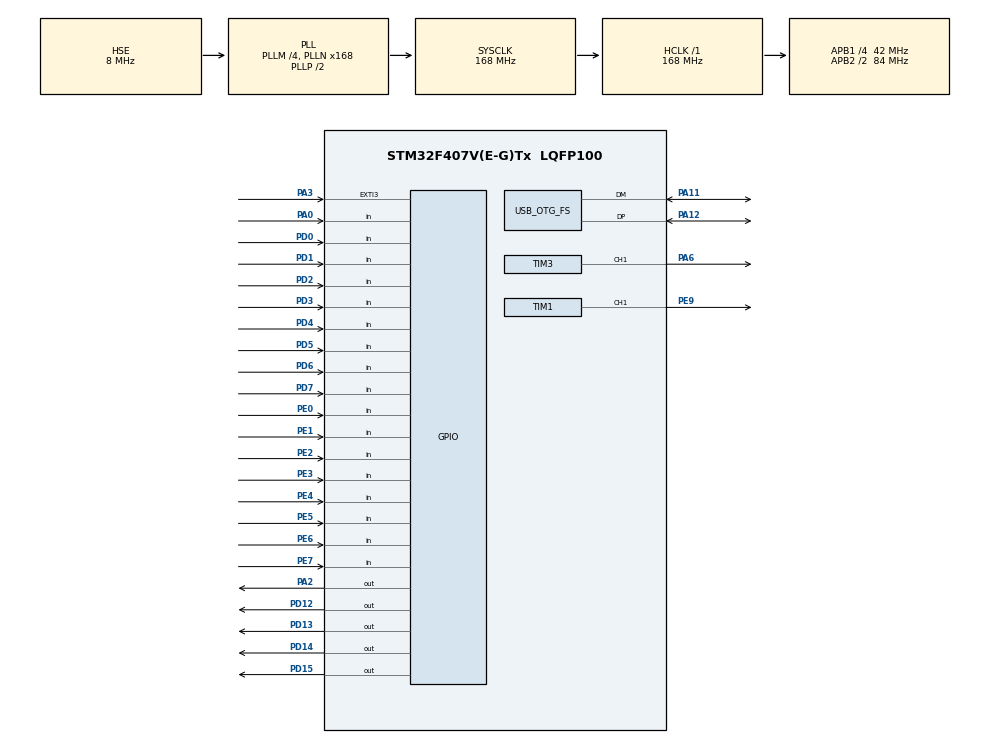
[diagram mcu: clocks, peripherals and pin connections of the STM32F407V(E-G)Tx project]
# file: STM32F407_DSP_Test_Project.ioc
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Mcu.Family=STM32F4
Mcu.Name=STM32F407V(E-G)Tx
Mcu.Package=LQFP100
NVIC.EXTI3_IRQn=true\:0\:0\:false\:false\:true\:true\:true
NVIC.OTG_FS_IRQn=true\:0\:0\:false\:false\:true\:false\:true
NVIC.PriorityGroup=NVIC_PRIORITYGROUP_4
NVIC.TIM6_DAC_IRQn=true\:0\:0\:true\:false\:true\:true\:true
PA0-WKUP.Signal=GPIO_Input
PA11.Mode=Device_Only
PA11.Signal=USB_OTG_FS_DM
PA12.Mode=Device_Only
PA12.Signal=USB_OTG_FS_DP
PA2.GPIO_PuPd=GPIO_PULLDOWN
PA2.GPIO_Speed=GPIO_SPEED_FREQ_HIGH
PA2.Signal=GPIO_Output
PA3.GPIO_PuPd=GPIO_PULLDOWN
PA3.Signal=GPXTI3
PA6.GPIO_Speed=GPIO_SPEED_FREQ_HIGH
PA6.Signal=S_TIM3_CH1
PD0.GPIO_PuPd=GPIO_PULLDOWN
PD0.Signal=GPIO_Input
PD1.GPIO_PuPd=GPIO_PULLDOWN
PD1.Signal=GPIO_Input
PD12.GPIO_PuPd=GPIO_PULLDOWN
PD12.Signal=GPIO_Output
PD13.Signal=GPIO_Output
PD14.Signal=GPIO_Output
PD15.Signal=GPIO_Output
PD2.GPIO_PuPd=GPIO_PULLDOWN
PD2.Signal=GPIO_Input
PD3.GPIO_PuPd=GPIO_PULLDOWN
PD3.Signal=GPIO_Input
PD4.GPIO_PuPd=GPIO_PULLDOWN
PD4.Signal=GPIO_Input
PD5.GPIO_PuPd=GPIO_PULLDOWN
PD5.Signal=GPIO_Input
PD6.GPIO_PuPd=GPIO_PULLDOWN
PD6.Signal=GPIO_Input
PD7.GPIO_PuPd=GPIO_PULLDOWN
PD7.Signal=GPIO_Input
PE0.GPIO_PuPd=GPIO_NOPULL
PE0.Signal=GPIO_Input
PE1.GPIO_PuPd=GPIO_NOPULL
PE1.Signal=GPIO_Input
PE2.GPIO_PuPd=GPIO_NOPULL
PE2.Signal=GPIO_Input
PE3.GPIO_PuPd=GPIO_NOPULL
PE3.Signal=GPIO_Input
PE4.GPIO_PuPd=GPIO_NOPULL
PE4.Signal=GPIO_Input
PE5.GPIO_PuPd=GPIO_NOPULL
PE5.Signal=GPIO_Input
PE6.GPIO_PuPd=GPIO_NOPULL
PE6.Signal=GPIO_Input
PE7.GPIO_PuPd=GPIO_NOPULL
PE7.Signal=GPIO_Input
PE9.GPIO_ModeDefaultPP=GPIO_MODE_AF_PP
PE9.GPIO_PuPd=GPIO_NOPULL
PE9.GPIO_Speed=GPIO_SPEED_FREQ_HIGH
PE9.Signal=S_TIM1_CH1
PH0-OSC_IN.Mode=HSE-External-Oscillator
PH0-OSC_IN.Signal=RCC_OSC_IN
PH1-OSC_OUT.Mode=HSE-External-Oscillator
PH1-OSC_OUT.Signal=RCC_OSC_OUT
ProjectManager.HeapSize=0x200
ProjectManager.StackSize=0x200
ProjectManager.TargetToolchain=STM32CubeIDE
RCC.48MHZClocksFreq_Value=48000000
RCC.AHBFreq_Value=168000000
RCC.APB1CLKDivider=RCC_HCLK_DIV4
RCC.APB1Freq_Value=42000000
RCC.APB1TimFreq_Value=84000000
RCC.APB2CLKDivider=RCC_HCLK_DIV2
RCC.APB2Freq_Value=84000000
RCC.APB2TimFreq_Value=168000000
RCC.CortexFreq_Value=168000000
RCC.HCLKFreq_Value=168000000
RCC.HSE_VALUE=8000000
RCC.HSI_VALUE=16000000
RCC.LSE_VALUE=32768
RCC.PLLM=4
RCC.PLLN=168
RCC.PLLQ=7
RCC.SYSCLKFreq_VALUE=168000000
RCC.SYSCLKSource=RCC_SYSCLKSOURCE_PLLCLK
RCC.VCOOutputFreq_Value=336000000
SH.S_TIM1_CH1.0=TIM1_CH1,PWM Generation1 CH1
SH.S_TIM3_CH1.0=TIM3_CH1,PWM Generation1 CH1
TIM1.Channel-PWM\ Generation1\ CH1=TIM_CHANNEL_1
TIM1.ClockDivision=TIM_CLOCKDIVISION_DIV4
TIM1.Period=1
TIM2.Period=1
TIM2.TIM_MasterOutputTrigger=TIM_TRGO_UPDATE
TIM3.Channel-PWM\ Generation1\ CH1=TIM_CHANNEL_1
TIM3.Period=10
TIM6.Period=10000
TIM6.Prescaler=8399
TIM6.TIM_MasterOutputTrigger=TIM_TRGO_UPDATE
USB_DEVICE.APP_RX_DATA_SIZE-CDC_FS=64
USB_DEVICE.APP_TX_DATA_SIZE-CDC_FS=64
USB_DEVICE.CLASS_NAME_FS=CDC
USB_DEVICE.USBD_MAX_STR_DESC_SIZ-CDC_FS=2048
USB_DEVICE.VirtualMode-CDC_FS=Cdc
USB_DEVICE.VirtualModeFS=Cdc_FS
USB_OTG_FS.VirtualMode=Device_Only
VP_TIM1_VS_ClockSourceINT.Mode=Internal
VP_TIM2_VS_ClockSourceINT.Mode=Internal
VP_TIM3_VS_ClockSourceINT.Mode=Internal
VP_TIM6_VS_ClockSourceINT.Mode=Enable_Timer
VP_USB_DEVICE_VS_USB_DEVICE_CDC_FS.Mode=CDC_FS
board=custom

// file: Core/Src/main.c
/* USER CODE BEGIN Header */
/**
  ******************************************************************************
  * @file           : main.c
  * @brief          : Main program body
  ******************************************************************************
  * @attention
  *
  * <h2><center>&copy; Copyright (c) 2021 STMicroelectronics.
  * All rights reserved.</center></h2>
  *
  * This software component is licensed by ST under BSD 3-Clause license,
  * the "License"; You may not use this file except in compliance with the
  * License. You may obtain a copy of the License at:
  *                        opensource.org/licenses/BSD-3-Clause
  *
  ******************************************************************************
  */
/* USER CODE END Header */
#include "main.h"
#include "usb_device.h"

/* USER CODE BEGIN Includes */
#include "usbd_cdc_if.h"
#include "math.h"
//#include <stdbool.h>
/* USER CODE END Includes */

/* USER CODE BEGIN PTD */
//#define iteration_num 200
//#define spectre_start 100000
//#define spectre_finish 200000
//#define step 10000
/* USER CODE END PTD */

TIM_HandleTypeDef htim1;
TIM_HandleTypeDef htim2;
TIM_HandleTypeDef htim3;
TIM_HandleTypeDef htim6;

void SystemClock_Config(void);
static void MX_GPIO_Init(void);
static void MX_TIM1_Init(void);
static void MX_TIM2_Init(void);
static void MX_TIM3_Init(void);
static void MX_TIM6_Init(void);

/* USER CODE BEGIN 0 */
int counter_period = 0;
volatile int current_input_val = 0;
volatile char str_tx[30];
float led_val_thresh = 256 / 5;

/* USER CODE END 0 */

int main(void)
{

  /* MCU Configuration--------------------------------------------------------*/

  /* Reset of all peripherals, Initializes the Flash interface and the Systick. */
  HAL_Init();

  /* Configure the system clock */
  SystemClock_Config();

  /* Initialize all configured peripherals */
  MX_GPIO_Init();
  MX_USB_DEVICE_Init();
  MX_TIM1_Init();
  MX_TIM2_Init();
  MX_TIM3_Init();
  MX_TIM6_Init();
  /* USER CODE BEGIN 2 */
//int counter_active = 16;
//int counter_passive = 16;
//int counter_pwm = 0;

//  HAL_TIM_Base_MspInit(&htim2);
//  HAL_TIM_Base_Start(&htim2);
  //HAL_TIM_Base_Start(&htim2); // запуск таймера
//  HAL_TIM_PWM_PulseFinishedCallback(&htim2);
//  HAL_TIM_PWM_Start_IT(&htim2, TIM_CHANNEL_1);

//  HAL_TIM_Base_MspInit(&htim1);
//  HAL_TIM_Base_Start_IT(&htim1);
//  HAL_TIM_Base_Start(&htim1);
//  HAL_TIM_PWM_Start(&htim1, TIM_CHANNEL_1);

//  HAL_TIM_Base_Start(&htim6);
  HAL_TIM_Base_Start_IT(&htim6);

//  HAL_GPIO_WritePin(GPIOD, GPIO_PIN_12, GPIO_PIN_RESET);
//  char str_tx[10];
//  sprintf(str_tx,"USB Transmit\r\n");

//void usDelay(uint16_t useconds)
//{
//  __HAL_TIM_SET_COUNTER(&htim2, 0);
//  while(__HAL_TIM_GET_COUNTER(&htim2) < useconds);
//}
//  TIM2->CCR1=1;
//  TIM1->CCR1=1;
  /* USER CODE END 2 */

  /* Infinite loop */
  /* USER CODE BEGIN WHILE */
  while (1)
  {
//      CDC_Transmit_FS((unsigned char*)str_tx, strlen(str_tx));
//      HAL_Delay(500);
//	  if (HAL_GPIO_ReadPin(GPIOA, GPIO_PIN_3) == GPIO_PIN_SET ) {
//		  counter_period +=1;
//	  }
//	  if (counter_period >= 4) {
//		  HAL_GPIO_WritePin(GPIOE, GPIO_PIN_0, HAL_GPIO_ReadPin(GPIOD, GPIO_PIN_0));
//		  counter_period = 0;
//	  }
//	  HAL_GPIO_WritePin(GPIOE, GPIO_PIN_0, GPIO_PIN_RESET);
//	  usDelay(1.9);
//	  HAL_GPIO_WritePin(GPIOE, GPIO_PIN_0, GPIO_PIN_SET);
//	  usDelay(1.9);
    /* USER CODE END WHILE */

  }
}

void SystemClock_Config(void)
{
  RCC_OscInitTypeDef RCC_OscInitStruct = {0};
  RCC_ClkInitTypeDef RCC_ClkInitStruct = {0};

  /** Configure the main internal regulator output voltage
  */
  __HAL_RCC_PWR_CLK_ENABLE();
  __HAL_PWR_VOLTAGESCALING_CONFIG(PWR_REGULATOR_VOLTAGE_SCALE1);
  /** Initializes the RCC Oscillators according to the specified parameters
  * in the RCC_OscInitTypeDef structure.
  */
  RCC_OscInitStruct.OscillatorType = RCC_OSCILLATORTYPE_HSE;
  RCC_OscInitStruct.HSEState = RCC_HSE_ON;
  RCC_OscInitStruct.PLL.PLLState = RCC_PLL_ON;
  RCC_OscInitStruct.PLL.PLLSource = RCC_PLLSOURCE_HSE;
  RCC_OscInitStruct.PLL.PLLM = 4;
  RCC_OscInitStruct.PLL.PLLN = 168;
  RCC_OscInitStruct.PLL.PLLP = RCC_PLLP_DIV2;
  RCC_OscInitStruct.PLL.PLLQ = 7;
  if (HAL_RCC_OscConfig(&RCC_OscInitStruct) != HAL_OK)
  {
    Error_Handler();
  }
  /** Initializes the CPU, AHB and APB buses clocks
  */
  RCC_ClkInitStruct.ClockType = RCC_CLOCKTYPE_HCLK|RCC_CLOCKTYPE_SYSCLK
                              |RCC_CLOCKTYPE_PCLK1|RCC_CLOCKTYPE_PCLK2;
  RCC_ClkInitStruct.SYSCLKSource = RCC_SYSCLKSOURCE_PLLCLK;
  RCC_ClkInitStruct.AHBCLKDivider = RCC_SYSCLK_DIV1;
  RCC_ClkInitStruct.APB1CLKDivider = RCC_HCLK_DIV4;
  RCC_ClkInitStruct.APB2CLKDivider = RCC_HCLK_DIV2;

  if (HAL_RCC_ClockConfig(&RCC_ClkInitStruct, FLASH_LATENCY_5) != HAL_OK)
  {
    Error_Handler();
  }
}

static void MX_TIM1_Init(void)
{

  TIM_ClockConfigTypeDef sClockSourceConfig = {0};
  TIM_MasterConfigTypeDef sMasterConfig = {0};
  TIM_OC_InitTypeDef sConfigOC = {0};
  TIM_BreakDeadTimeConfigTypeDef sBreakDeadTimeConfig = {0};

  htim1.Instance = TIM1;
  htim1.Init.Prescaler = 0;
  htim1.Init.CounterMode = TIM_COUNTERMODE_UP;
  htim1.Init.Period = 1;
  htim1.Init.ClockDivision = TIM_CLOCKDIVISION_DIV4;
  htim1.Init.RepetitionCounter = 0;
  htim1.Init.AutoReloadPreload = TIM_AUTORELOAD_PRELOAD_DISABLE;
  if (HAL_TIM_Base_Init(&htim1) != HAL_OK)
  {
    Error_Handler();
  }
  sClockSourceConfig.ClockSource = TIM_CLOCKSOURCE_INTERNAL;
  if (HAL_TIM_ConfigClockSource(&htim1, &sClockSourceConfig) != HAL_OK)
  {
    Error_Handler();
  }
  if (HAL_TIM_PWM_Init(&htim1) != HAL_OK)
  {
    Error_Handler();
  }
  sMasterConfig.MasterOutputTrigger = TIM_TRGO_RESET;
  sMasterConfig.MasterSlaveMode = TIM_MASTERSLAVEMODE_DISABLE;
  if (HAL_TIMEx_MasterConfigSynchronization(&htim1, &sMasterConfig) != HAL_OK)
  {
    Error_Handler();
  }
  sConfigOC.OCMode = TIM_OCMODE_PWM1;
  sConfigOC.Pulse = 0;
  sConfigOC.OCPolarity = TIM_OCPOLARITY_HIGH;
  sConfigOC.OCNPolarity = TIM_OCNPOLARITY_HIGH;
  sConfigOC.OCFastMode = TIM_OCFAST_DISABLE;
  sConfigOC.OCIdleState = TIM_OCIDLESTATE_RESET;
  sConfigOC.OCNIdleState = TIM_OCNIDLESTATE_RESET;
  if (HAL_TIM_PWM_ConfigChannel(&htim1, &sConfigOC, TIM_CHANNEL_1) != HAL_OK)
  {
    Error_Handler();
  }
  sBreakDeadTimeConfig.OffStateRunMode = TIM_OSSR_DISABLE;
  sBreakDeadTimeConfig.OffStateIDLEMode = TIM_OSSI_DISABLE;
  sBreakDeadTimeConfig.LockLevel = TIM_LOCKLEVEL_OFF;
  sBreakDeadTimeConfig.DeadTime = 0;
  sBreakDeadTimeConfig.BreakState = TIM_BREAK_DISABLE;
  sBreakDeadTimeConfig.BreakPolarity = TIM_BREAKPOLARITY_HIGH;
  sBreakDeadTimeConfig.AutomaticOutput = TIM_AUTOMATICOUTPUT_DISABLE;
  if (HAL_TIMEx_ConfigBreakDeadTime(&htim1, &sBreakDeadTimeConfig) != HAL_OK)
  {
    Error_Handler();
  }
  HAL_TIM_MspPostInit(&htim1);

}

static void MX_TIM2_Init(void)
{

  TIM_ClockConfigTypeDef sClockSourceConfig = {0};
  TIM_MasterConfigTypeDef sMasterConfig = {0};

  htim2.Instance = TIM2;
  htim2.Init.Prescaler = 0;
  htim2.Init.CounterMode = TIM_COUNTERMODE_UP;
  htim2.Init.Period = 1;
  htim2.Init.ClockDivision = TIM_CLOCKDIVISION_DIV1;
  htim2.Init.AutoReloadPreload = TIM_AUTORELOAD_PRELOAD_DISABLE;
  if (HAL_TIM_Base_Init(&htim2) != HAL_OK)
  {
    Error_Handler();
  }
  sClockSourceConfig.ClockSource = TIM_CLOCKSOURCE_INTERNAL;
  if (HAL_TIM_ConfigClockSource(&htim2, &sClockSourceConfig) != HAL_OK)
  {
    Error_Handler();
  }
  sMasterConfig.MasterOutputTrigger = TIM_TRGO_UPDATE;
  sMasterConfig.MasterSlaveMode = TIM_MASTERSLAVEMODE_DISABLE;
  if (HAL_TIMEx_MasterConfigSynchronization(&htim2, &sMasterConfig) != HAL_OK)
  {
    Error_Handler();
  }

}

static void MX_TIM3_Init(void)
{

  TIM_ClockConfigTypeDef sClockSourceConfig = {0};
  TIM_MasterConfigTypeDef sMasterConfig = {0};
  TIM_OC_InitTypeDef sConfigOC = {0};

  htim3.Instance = TIM3;
  htim3.Init.Prescaler = 0;
  htim3.Init.CounterMode = TIM_COUNTERMODE_UP;
  htim3.Init.Period = 10;
  htim3.Init.ClockDivision = TIM_CLOCKDIVISION_DIV1;
  htim3.Init.AutoReloadPreload = TIM_AUTORELOAD_PRELOAD_DISABLE;
  if (HAL_TIM_Base_Init(&htim3) != HAL_OK)
  {
    Error_Handler();
  }
  sClockSourceConfig.ClockSource = TIM_CLOCKSOURCE_INTERNAL;
  if (HAL_TIM_ConfigClockSource(&htim3, &sClockSourceConfig) != HAL_OK)
  {
    Error_Handler();
  }
  if (HAL_TIM_PWM_Init(&htim3) != HAL_OK)
  {
    Error_Handler();
  }
  sMasterConfig.MasterOutputTrigger = TIM_TRGO_RESET;
  sMasterConfig.MasterSlaveMode = TIM_MASTERSLAVEMODE_DISABLE;
  if (HAL_TIMEx_MasterConfigSynchronization(&htim3, &sMasterConfig) != HAL_OK)
  {
    Error_Handler();
  }
  sConfigOC.OCMode = TIM_OCMODE_PWM1;
  sConfigOC.Pulse = 0;
  sConfigOC.OCPolarity = TIM_OCPOLARITY_HIGH;
  sConfigOC.OCFastMode = TIM_OCFAST_DISABLE;
  if (HAL_TIM_PWM_ConfigChannel(&htim3, &sConfigOC, TIM_CHANNEL_1) != HAL_OK)
  {
    Error_Handler();
  }
  HAL_TIM_MspPostInit(&htim3);

}

static void MX_TIM6_Init(void)
{

  TIM_MasterConfigTypeDef sMasterConfig = {0};

  htim6.Instance = TIM6;
  htim6.Init.Prescaler = 8399;
  htim6.Init.CounterMode = TIM_COUNTERMODE_UP;
  htim6.Init.Period = 10000;
  htim6.Init.AutoReloadPreload = TIM_AUTORELOAD_PRELOAD_DISABLE;
  if (HAL_TIM_Base_Init(&htim6) != HAL_OK)
  {
    Error_Handler();
  }
  sMasterConfig.MasterOutputTrigger = TIM_TRGO_UPDATE;
  sMasterConfig.MasterSlaveMode = TIM_MASTERSLAVEMODE_DISABLE;
  if (HAL_TIMEx_MasterConfigSynchronization(&htim6, &sMasterConfig) != HAL_OK)
  {
    Error_Handler();
  }

}

static void MX_GPIO_Init(void)
{
  GPIO_InitTypeDef GPIO_InitStruct = {0};

  /* GPIO Ports Clock Enable */
  __HAL_RCC_GPIOE_CLK_ENABLE();
  __HAL_RCC_GPIOH_CLK_ENABLE();
  __HAL_RCC_GPIOA_CLK_ENABLE();
  __HAL_RCC_GPIOD_CLK_ENABLE();

  /*Configure GPIO pin Output Level */
  HAL_GPIO_WritePin(GPIOA, GPIO_PIN_2, GPIO_PIN_RESET);

  /*Configure GPIO pin Output Level */
  HAL_GPIO_WritePin(GPIOD, GPIO_PIN_12|GPIO_PIN_13|GPIO_PIN_14|GPIO_PIN_15, GPIO_PIN_RESET);

  /*Configure GPIO pins : PE2 PE3 PE4 PE5
                           PE6 PE7 PE0 PE1 */
  GPIO_InitStruct.Pin = GPIO_PIN_2|GPIO_PIN_3|GPIO_PIN_4|GPIO_PIN_5
                          |GPIO_PIN_6|GPIO_PIN_7|GPIO_PIN_0|GPIO_PIN_1;
  GPIO_InitStruct.Mode = GPIO_MODE_INPUT;
  GPIO_InitStruct.Pull = GPIO_NOPULL;
  HAL_GPIO_Init(GPIOE, &GPIO_InitStruct);

  /*Configure GPIO pin : PA0 */
  GPIO_InitStruct.Pin = GPIO_PIN_0;
  GPIO_InitStruct.Mode = GPIO_MODE_INPUT;
  GPIO_InitStruct.Pull = GPIO_NOPULL;
  HAL_GPIO_Init(GPIOA, &GPIO_InitStruct);

  /*Configure GPIO pin : PA2 */
  GPIO_InitStruct.Pin = GPIO_PIN_2;
  GPIO_InitStruct.Mode = GPIO_MODE_OUTPUT_PP;
  GPIO_InitStruct.Pull = GPIO_PULLDOWN;
  GPIO_InitStruct.Speed = GPIO_SPEED_FREQ_HIGH;
  HAL_GPIO_Init(GPIOA, &GPIO_InitStruct);

  /*Configure GPIO pin : PA3 */
  GPIO_InitStruct.Pin = GPIO_PIN_3;
  GPIO_InitStruct.Mode = GPIO_MODE_IT_RISING;
  GPIO_InitStruct.Pull = GPIO_PULLDOWN;
  HAL_GPIO_Init(GPIOA, &GPIO_InitStruct);

  /*Configure GPIO pin : PD12 */
  GPIO_InitStruct.Pin = GPIO_PIN_12;
  GPIO_InitStruct.Mode = GPIO_MODE_OUTPUT_PP;
  GPIO_InitStruct.Pull = GPIO_PULLDOWN;
  GPIO_InitStruct.Speed = GPIO_SPEED_FREQ_LOW;
  HAL_GPIO_Init(GPIOD, &GPIO_InitStruct);

  /*Configure GPIO pins : PD13 PD14 PD15 */
  GPIO_InitStruct.Pin = GPIO_PIN_13|GPIO_PIN_14|GPIO_PIN_15;
  GPIO_InitStruct.Mode = GPIO_MODE_OUTPUT_PP;
  GPIO_InitStruct.Pull = GPIO_NOPULL;
  GPIO_InitStruct.Speed = GPIO_SPEED_FREQ_LOW;
  HAL_GPIO_Init(GPIOD, &GPIO_InitStruct);

  /*Configure GPIO pins : PD0 PD1 PD2 PD3
                           PD4 PD5 PD6 PD7 */
  GPIO_InitStruct.Pin = GPIO_PIN_0|GPIO_PIN_1|GPIO_PIN_2|GPIO_PIN_3
                          |GPIO_PIN_4|GPIO_PIN_5|GPIO_PIN_6|GPIO_PIN_7;
  GPIO_InitStruct.Mode = GPIO_MODE_INPUT;
  GPIO_InitStruct.Pull = GPIO_PULLDOWN;
  HAL_GPIO_Init(GPIOD, &GPIO_InitStruct);

  /* EXTI interrupt init*/
  HAL_NVIC_SetPriority(EXTI3_IRQn, 0, 0);
  HAL_NVIC_EnableIRQ(EXTI3_IRQn);

}

/* USER CODE BEGIN 4 */

/**
  * @brief Get 8-bit Digital Number Rrom 8 GOIO-Input Pins (PD0 - PD8 EXCLUDING PD5)
  * @param None
  * @retval uint8_t 8-bit digital number
  */
int Get_Current_Input_Val(void)
{
	return (
				(HAL_GPIO_ReadPin(GPIOD, GPIO_PIN_0) == GPIO_PIN_SET ) 	* 	0b00000001
			+	(HAL_GPIO_ReadPin(GPIOD, GPIO_PIN_1) == GPIO_PIN_SET ) 	* 	0b00000010
			+	(HAL_GPIO_ReadPin(GPIOD, GPIO_PIN_2) == GPIO_PIN_SET ) 	* 	0b00000100
			+	(HAL_GPIO_ReadPin(GPIOD, GPIO_PIN_3) == GPIO_PIN_SET ) 	* 	0b00001000
			+	(HAL_GPIO_ReadPin(GPIOD, GPIO_PIN_4) == GPIO_PIN_SET ) 	* 	0b00010000
			+	(HAL_GPIO_ReadPin(GPIOD, GPIO_PIN_5) == GPIO_PIN_SET ) 	* 	0b00100000
			+	(HAL_GPIO_ReadPin(GPIOD, GPIO_PIN_6) == GPIO_PIN_SET ) 	* 	0b01000000
			+	(HAL_GPIO_ReadPin(GPIOD, GPIO_PIN_7) == GPIO_PIN_SET ) 	* 	0b10000000
		);
}

/**
  * @brief  Override GPIO Interrupt Function From stm32f4xx_hal_gpio.c
  * @param  GPIO_Pin Specifies the pins connected EXTI line
  * @retval None
  */
void HAL_GPIO_EXTI_Callback(uint16_t GPIO_Pin)
{
	if(GPIO_Pin == GPIO_PIN_3) {
//		HAL_GPIO_TogglePin(GPIOD, GPIO_PIN_13);
			counter_period +=1;
			if (counter_period >= 4) {
				current_input_val = Get_Current_Input_Val();
//				sprintf(str_tx, "%d\r\n", current_input_val);
				HAL_GPIO_WritePin(GPIOD, GPIO_PIN_12, current_input_val > led_val_thresh);
				HAL_GPIO_WritePin(GPIOD, GPIO_PIN_13, current_input_val > 2 * led_val_thresh);
				HAL_GPIO_WritePin(GPIOD, GPIO_PIN_14, current_input_val > 3 * led_val_thresh);
				HAL_GPIO_WritePin(GPIOD, GPIO_PIN_15, current_input_val > 4 * led_val_thresh);
				counter_period = 0;
			}
	} else {
		__NOP();
	}
}

void TIM6_DAC_IRQHandler(void)
{
  /* USER CODE BEGIN TIM6_DAC_IRQn 0 */

  /* USER CODE END TIM6_DAC_IRQn 0 */
  HAL_TIM_IRQHandler(&htim6);
  /* USER CODE BEGIN TIM6_DAC_IRQn 1 */
//  char str_tx[30];
  sprintf(str_tx, "%d\r\n", current_input_val);
  CDC_Transmit_FS((unsigned char*)str_tx, strlen(str_tx));
//  current_input_val = 2;
//  CDC_Transmit_FS(current_input_val, 1);
//  HAL_GPIO_TogglePin(GPIOD, GPIO_PIN_12);
  /* USER CODE END TIM6_DAC_IRQn 1 */
}

/* USER CODE END 4 */

void Error_Handler(void)
{
  __disable_irq();
  while (1)
  {
  }
}
